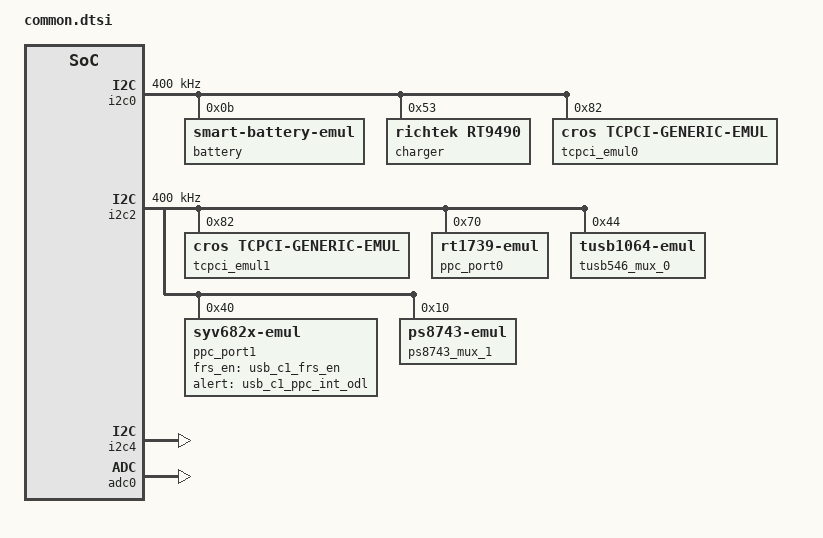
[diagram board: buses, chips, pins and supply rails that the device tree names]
/* Copyright 2023 The ChromiumOS Authors
 * Use of this source code is governed by a BSD-style license that can be
 * found in the LICENSE file.
 */

#include <it8xxx2_emul.dts>

/ {
	pinctrl: pinctrl {
		compatible = "ite,it8xxx2-pinctrl";
		status = "disabled";
	};

	named-i2c-ports {
		compatible = "named-i2c-ports";

		battery {
			i2c-port = <&i2c0>;
			remote-port = <1>;
			enum-names = "I2C_PORT_BATTERY",
				"I2C_PORT_VIRTUAL_BATTERY";
		};
		i2c_charger: charger {
			i2c-port = <&i2c0>;
			enum-names = "I2C_PORT_CHARGER",
				"I2C_PORT_EEPROM";
		};
		i2c_sensor: sensor {
			i2c-port = <&i2c2>;
			enum-names = "I2C_PORT_SENSOR";
		};
		i2c_usb_c: usb-c {
			i2c-port = <&i2c2>;
			enum-names = "I2C_PORT_USB_C";
		};
		i2c_detachable_base: detachable-base {
			i2c-port = <&i2c4>;
			enum-names = "I2C_PORT_DETACHABLE_BASE";
		};
	};

	usbc {
		#address-cells = <1>;
		#size-cells = <0>;

		port0@0 {
			compatible = "named-usbc-port";
			status = "okay";
			reg = <0>;
			chg = <&charger>;
			tcpc = <&tcpci_emul0>;
			ppc = <&ppc_port0>;
			usb-mux-chain-0 {
				compatible = "cros-ec,usb-mux-chain";
				usb-muxes = <&tusb546_mux_0 &virtual_mux_0>;
			};
		};
		port0-muxes {
			virtual_mux_0: virtual-mux-0 {
				compatible = "cros-ec,usbc-mux-virtual";
			};
		};

		port1@1 {
			compatible = "named-usbc-port";
			status = "okay";
			reg = <1>;
			tcpc = <&tcpci_emul1>;
			ppc = <&ppc_port1>;
			usb-mux-chain-1 {
				compatible = "cros-ec,usb-mux-chain";
				usb-muxes = <&ps8743_mux_1 &virtual_mux_1>;
			};
		};
		port1-muxes {
			virtual_mux_1: virtual-mux-1 {
				compatible = "cros-ec,usbc-mux-virtual";
			};
		};
	};

	batteries {
		default_battery: lgc_ac17a8m {
			compatible = "lgc,ac17a8m", "battery-smart";
			/**
			 * this has to be strictly lower than the desired
			 * voltage in smart battery emulator (5000mV).
			 */
			voltage_min = <4000>;
		};
	};

	named-adc-channels {
		compatible = "named-adc-channels";

		adc_vbus_c0 {
			enum-name = "ADC_VBUS_C0";
			io-channels = <&adc0 0>;
			mul = <10>;
		};
		adc_board_id0 {
			enum-name = "ADC_BOARD_ID_0";
			io-channels = <&adc0 1>;
		};
		adc_board_id1 {
			enum-name = "ADC_BOARD_ID_1";
			io-channels = <&adc0 2>;
		};
		adc_vbus_c1 {
			enum-name = "ADC_VBUS_C1";
			io-channels = <&adc0 7>;
			mul = <10>;
		};
		adc_charger: charger {
			enum-name = "ADC_TEMP_SENSOR_CHARGER";
			io-channels = <&adc0 5>;
		};
	};
};

&i2c0 {
	/* I2C_BATTERY */
	battery: sb@b {
		compatible = "zephyr,smart-battery-emul";
		reg = <0xb>;
		cycle-count = <99>;
		version = "BATTERY_SPEC_VER_1_1_WITH_PEC";
		/* Real battery voltages are multiples of 4.4V. */
		desired-charg-volt = <5000>;
		desired-charg-cur = <1000>;
		mf-name = "LGC";
		dev-name = "AC17A8M";
	};

	/* I2C_PWR_CBI */
	status = "okay";
	clock-frequency = <I2C_BITRATE_FAST>;

	charger: rt9490@53 {
		compatible = "richtek,rt9490", "zephyr,rt9490-emul";
		status = "okay";
		reg = <0x53>;
	};

	tcpci_emul0: tcpci_emul@82 {
		compatible = "cros,tcpci-generic-emul";
		status = "okay";
		reg = <0x82>;
	};
};

&i2c2 {
	/* I2C_USB_C */
	status = "okay";
	clock-frequency = <I2C_BITRATE_FAST>;
	/delete-property/ fifo-enable;

	tcpci_emul1: tcpci_emul@82 {
		compatible = "cros,tcpci-generic-emul";
		status = "okay";
		reg = <0x82>;
	};

	ppc_port0: rt1739@70 {
		compatible = "zephyr,rt1739-emul", "richtek,rt1739-ppc";
		status = "okay";
		reg = <0x70>;
	};

	tusb546_mux_0: tusb546-mux-0@44 {
		compatible = "zephyr,tusb1064-emul";
		reg = <0x44>;
	};

	ppc_port1: syv682x@40 {
		compatible = "zephyr,syv682x-emul";
		status = "okay";
		reg = <0x40>;
		frs_en_gpio = <&usb_c1_frs_en>;
		alert_gpio = <&usb_c1_ppc_int_odl>;
	};

	ps8743_mux_1: ps8743-mux-1@10 {
		compatible = "zephyr,ps8743-emul";
		reg = <0x10>;
		// board-init = "ps8743_eq_c1_setting";
	};
};

/* TODO(b/260377762): peripheral mode */
&i2c4 {
	/* I2C_DETACHABLE_BASE */
	status = "okay";
};

&adc0 {
	status = "okay";
};
